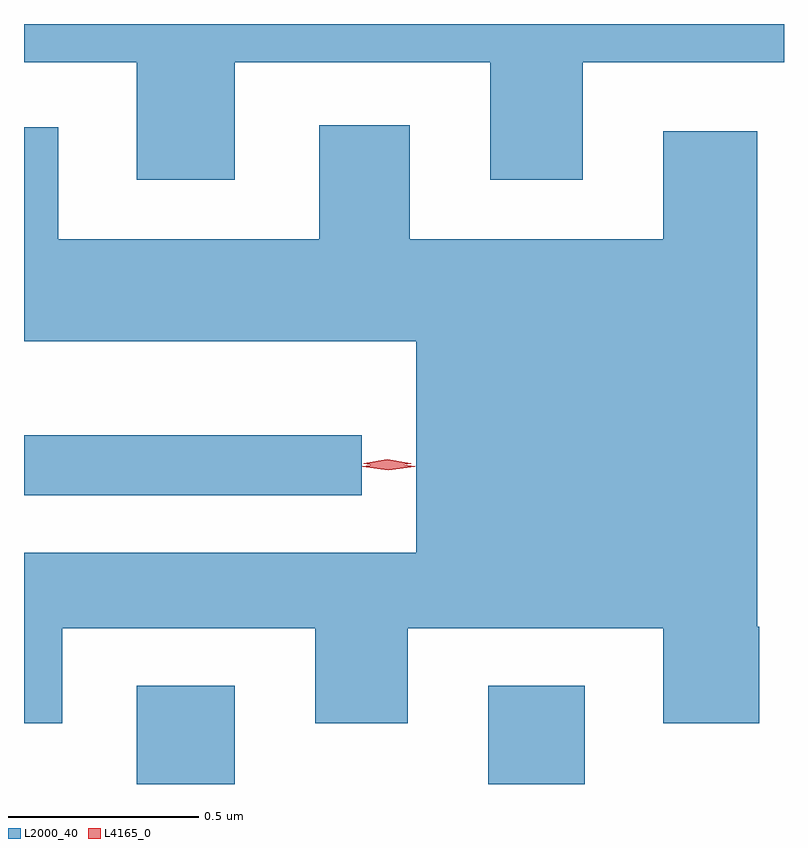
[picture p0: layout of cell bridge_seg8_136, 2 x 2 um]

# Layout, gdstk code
import gdstk
lib = gdstk.Library(unit=1e-6, precision=1e-09)
def R(c, l, rs):  # rectangles x0, y0, x1, y1
    for r in rs: c.add(gdstk.rectangle(r[:2], r[2:], *l))
def P(c, l, *ps):  # polygons
    for p in ps: c.add(gdstk.Polygon(p, *l))
L2000_40 = (2000, 40)
L4165_0 = (4165, 0)

bridge_seg8_136 = lib.new_cell('bridge_seg8_136')
R(bridge_seg8_136, L2000_40, [(1826.256,1827.856,1826.514,1828.114), (1827.181,1827.856,1827.434,1828.114), (1825.959,1828.616,1826.848,1828.774)])
P(bridge_seg8_136, L2000_40, [(1826.514,1829.756),(1827.186,1829.756),(1827.186,1829.446),(1827.429,1829.446),(1827.429,1829.756),(1827.959,1829.756),(1827.959,1829.856),(1825.959,1829.856),(1825.959,1829.756),(1826.256,1829.756),(1826.256,1829.446),(1826.514,1829.446)],
  [(1826.059,1828.266),(1826.726,1828.266),(1826.726,1828.016),(1826.969,1828.016),(1826.969,1828.266),(1827.641,1828.266),(1827.641,1828.016),(1827.894,1828.016),(1827.894,1828.27),(1827.889,1828.27),(1827.889,1829.574),(1827.641,1829.574),(1827.641,1829.289),(1826.974,1829.289),(1826.974,1829.589),(1826.736,1829.589),(1826.736,1829.289),(1826.049,1829.289),(1826.049,1829.584),(1825.959,1829.584),(1825.959,1829.021),(1826.991,1829.021),(1826.991,1828.464),(1825.959,1828.464),(1825.959,1828.016),(1826.059,1828.016)])
P(bridge_seg8_136, L4165_0, [(1826.915,1828.69),(1826.853,1828.699),(1826.853,1828.699),(1826.853,1828.7),(1826.915,1828.71),(1826.977,1828.7),(1826.978,1828.7),(1826.977,1828.699)],
  [(1826.918,1828.682),(1826.85,1828.691),(1826.849,1828.692),(1826.85,1828.692),(1826.919,1828.702),(1826.987,1828.692),(1826.988,1828.692),(1826.987,1828.691)])

lib.write_gds('bridge_seg8_136.gds')
